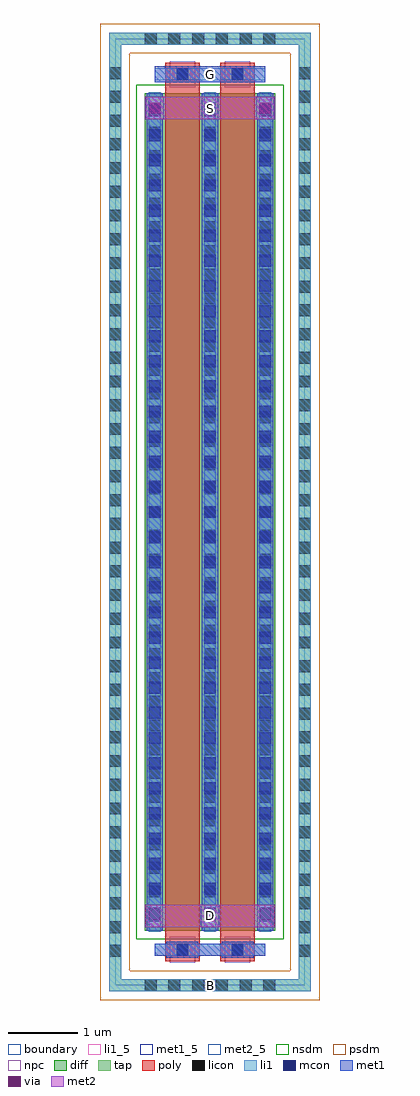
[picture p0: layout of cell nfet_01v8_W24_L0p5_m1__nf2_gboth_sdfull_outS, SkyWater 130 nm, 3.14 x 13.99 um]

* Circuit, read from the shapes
.subckt nfet_01v8_W24_L0p5_m1__nf2_gboth_sdfull_outS B D G S
XM1 D G S B sky130_fd_pr__nfet_01v8 w=12 l=0.5 m=2
.ends

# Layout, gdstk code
import gdstk
lib = gdstk.Library(unit=1e-6, precision=1e-09)
def R(c, l, rs):  # rectangles x0, y0, x1, y1
    for r in rs: c.add(gdstk.rectangle(r[:2], r[2:], *l))
def A(c, l, x, y, w, h, nx, ny, dx, dy):  # array of equal rectangles
    R(c, l, [(x+i*dx, y+j*dy, x+i*dx+w, y+j*dy+h) for i in range(nx) for j in range(ny)])
diff = (65, 20)
tap = (65, 44)
poly = (66, 20)
licon = (66, 44)
li1_5 = (67, 5)
li1 = (67, 20)
mcon = (67, 44)
met1_5 = (68, 5)
met1 = (68, 20)
via = (68, 44)
met2_5 = (69, 5)
met2 = (69, 20)
nsdm = (93, 44)
psdm = (94, 20)
npc = (95, 20)
boundary = (235, 4)

sky130_fd_pr__nfet_01v8_ = lib.new_cell('sky130_fd_pr__nfet_01v8_NWW25M')
R(sky130_fd_pr__nfet_01v8_, diff, [(-0.935,-6,0.935,6)])
R(sky130_fd_pr__nfet_01v8_, tap, [(-1.445,-6.87,1.445,-6.7), (-1.445,-6.7,-1.275,6.7), (1.275,-6.7,1.445,6.7), (-1.445,6.7,1.445,6.87)])
R(sky130_fd_pr__nfet_01v8_, poly, [(-0.645,-6.44,-0.145,6.44), (0.145,-6.44,0.645,6.44)])
A(sky130_fd_pr__nfet_01v8_, licon, -0.935, -6.87, 0.17, 0.17, 6, 2, 0.34, 13.57)
A(sky130_fd_pr__nfet_01v8_, licon, -1.445, -6.375, 0.17, 0.17, 1, 38, 0, 0.34)
A(sky130_fd_pr__nfet_01v8_, licon, 1.275, -6.375, 0.17, 0.17, 1, 38, 0, 0.34)
A(sky130_fd_pr__nfet_01v8_, licon, -0.875, -5.865, 0.17, 0.17, 3, 35, 0.79, 0.34)
R(sky130_fd_pr__nfet_01v8_, licon, [(-0.48,-6.36,-0.31,-6.19), (0.31,-6.36,0.48,-6.19), (-0.48,6.19,-0.31,6.36), (0.31,6.19,0.48,6.36)])
A(sky130_fd_pr__nfet_01v8_, li1, -0.875, -6.02, 0.17, 12.04, 3, 1, 0.79, 0)
R(sky130_fd_pr__nfet_01v8_, li1, [(-1.445,-6.87,1.445,-6.7), (-1.445,-6.7,-1.275,6.7), (1.275,-6.7,1.445,6.7), (-0.79,-6.36,0.79,-6.19), (-0.79,6.19,0.79,6.36), (-1.445,6.7,1.445,6.87)])
A(sky130_fd_pr__nfet_01v8_, mcon, -0.875, -5.845, 0.17, 0.17, 3, 33, 0.79, 0.36)
R(sky130_fd_pr__nfet_01v8_, mcon, [(-0.48,-6.36,-0.31,-6.19), (0.31,-6.36,0.48,-6.19), (-0.48,6.19,-0.31,6.36), (0.31,6.19,0.48,6.36)])
A(sky130_fd_pr__nfet_01v8_, met1, -0.905, -6, 0.23, 12, 3, 1, 0.79, 0)
R(sky130_fd_pr__nfet_01v8_, met1, [(-0.625,-6.39,-0.165,-6.36), (0.165,-6.39,0.625,-6.36), (-0.79,-6.36,0.79,-6.19), (-0.625,-6.19,-0.165,-6.16), (0.165,-6.19,0.625,-6.16), (-0.625,6.16,-0.165,6.19), (0.165,6.16,0.625,6.19), (-0.79,6.19,0.79,6.36), (-0.625,6.36,-0.165,6.39), (0.165,6.36,0.625,6.39)])
R(sky130_fd_pr__nfet_01v8_, nsdm, [(-1.06,-6.125,1.06,6.125)])
R(sky130_fd_pr__nfet_01v8_, psdm, [(-1.57,-6.995,1.57,-6.575), (-1.57,-6.575,-1.15,6.575), (1.15,-6.575,1.57,6.575), (-1.57,6.575,1.57,6.995)])
R(sky130_fd_pr__nfet_01v8_, npc, [(-0.58,-6.46,-0.21,-6.09), (0.21,-6.46,0.58,-6.09), (-0.58,6.09,-0.21,6.46), (0.21,6.09,0.58,6.46)])
R(sky130_fd_pr__nfet_01v8_, boundary, [(-1.36,-6.785,1.36,6.785)])
sky130_fd_pr__nfet_01v8_.add(gdstk.Label('B', (0,-6.785), layer=67, texttype=5))
sky130_fd_pr__nfet_01v8_.add(gdstk.Label('D0', (-0.79,0), layer=67, texttype=5))
sky130_fd_pr__nfet_01v8_.add(gdstk.Label('G', (0.395,6.275), layer=67, texttype=5))
sky130_fd_pr__nfet_01v8_.add(gdstk.Label('G', (-0.395,6.275), layer=67, texttype=5))
sky130_fd_pr__nfet_01v8_.add(gdstk.Label('S1', (0,0), layer=67, texttype=5))

nfet_01v8_w24_l0p5_m1__n = lib.new_cell('nfet_01v8_W24_L0p5_m1__nf2_gboth_sdfull_outS')
R(nfet_01v8_w24_l0p5_m1__n, li1_5, [(1.275,-0.085,1.445,0.085)])
R(nfet_01v8_w24_l0p5_m1__n, li1, [(1.275,-0.085,1.445,0.085)])
R(nfet_01v8_w24_l0p5_m1__n, met1_5, [(0.57,12.945,2.15,13.175)])
R(nfet_01v8_w24_l0p5_m1__n, met1, [(1.23,0.835,1.49,1.155), (0.44,12.415,0.7,12.735), (2.02,12.415,2.28,12.735), (0.57,12.945,2.15,13.175)])
R(nfet_01v8_w24_l0p5_m1__n, via, [(1.285,0.92,1.435,1.07), (0.495,12.5,0.645,12.65), (2.075,12.5,2.225,12.65)])
R(nfet_01v8_w24_l0p5_m1__n, met2_5, [(0.435,0.835,2.285,1.155), (0.435,12.415,2.285,12.735)])
R(nfet_01v8_w24_l0p5_m1__n, met2, [(0.435,0.835,2.285,1.155), (0.435,12.415,2.285,12.735)])
nfet_01v8_w24_l0p5_m1__n.add(gdstk.Reference(sky130_fd_pr__nfet_01v8_, (1.36,6.785)))
nfet_01v8_w24_l0p5_m1__n.add(gdstk.Label('S', (1.36,12.575), layer=69, texttype=5))
nfet_01v8_w24_l0p5_m1__n.add(gdstk.Label('D', (1.36,0.995), layer=69, texttype=5))
nfet_01v8_w24_l0p5_m1__n.add(gdstk.Label('G', (1.36,13.06), layer=68, texttype=5))
nfet_01v8_w24_l0p5_m1__n.add(gdstk.Label('B', (1.36,0), layer=67, texttype=5))

lib.write_gds('nfet_01v8_W24_L0p5_m1__nf2_gboth_sdfull_outS.gds')
